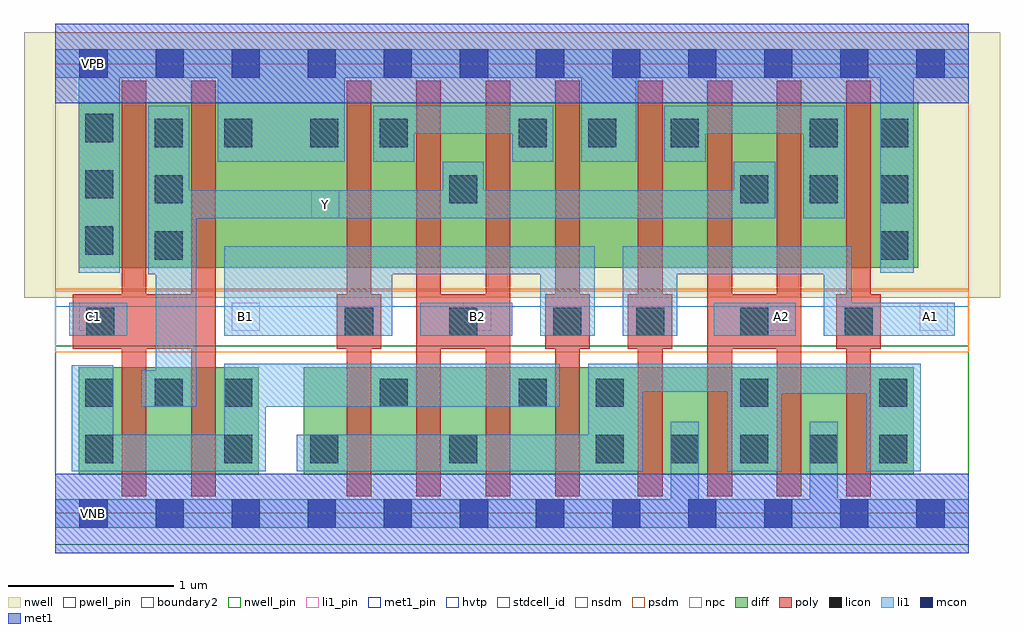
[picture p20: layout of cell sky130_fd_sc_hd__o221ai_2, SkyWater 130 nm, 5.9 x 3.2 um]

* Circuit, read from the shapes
.subckt sky130_fd_sc_hd__o221ai_2 A1 A2 B1 B2 C1 VGND VNB VPB VPWR Y
XM1 Y C1 n1 VNB sky130_fd_pr__nfet_01v8 w=0.65 l=0.15 m=2
XM2 n1 B1 n2 VNB sky130_fd_pr__nfet_01v8 w=0.65 l=0.15 m=2
XM3 n2 B2 n1 VNB sky130_fd_pr__nfet_01v8 w=0.65 l=0.15 m=2
XM4 VGND A1 n2 VNB sky130_fd_pr__nfet_01v8 w=0.65 l=0.15 m=2
XM5 n2 A2 VGND VNB sky130_fd_pr__nfet_01v8 w=0.65 l=0.15 m=2
XM6 Y C1 VPWR VPB sky130_fd_pr__pfet_01v8_hvt w=1 l=0.15 m=2
XM7 n3 B1 VPWR VPB sky130_fd_pr__pfet_01v8_hvt w=1 l=0.15 m=2
XM8 Y B2 n3 VPB sky130_fd_pr__pfet_01v8_hvt w=1 l=0.15 m=2
XM9 n4 A1 VPWR VPB sky130_fd_pr__pfet_01v8_hvt w=1 l=0.15 m=2
XM10 Y A2 n4 VPB sky130_fd_pr__pfet_01v8_hvt w=1 l=0.15 m=2
.ends

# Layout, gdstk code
import gdstk
lib = gdstk.Library(unit=1e-6, precision=1e-09)
def R(c, l, rs):  # rectangles x0, y0, x1, y1
    for r in rs: c.add(gdstk.rectangle(r[:2], r[2:], *l))
def A(c, l, x, y, w, h, nx, ny, dx, dy):  # array of equal rectangles
    R(c, l, [(x+i*dx, y+j*dy, x+i*dx+w, y+j*dy+h) for i in range(nx) for j in range(ny)])
def P(c, l, *ps):  # polygons
    for p in ps: c.add(gdstk.Polygon(p, *l))
nwell_pin = (64, 16)
nwell = (64, 20)
diff = (65, 20)
poly = (66, 20)
licon = (66, 44)
li1_pin = (67, 16)
li1 = (67, 20)
mcon = (67, 44)
met1_pin = (68, 16)
met1 = (68, 20)
hvtp = (78, 44)
stdcell_id = (81, 4)
nsdm = (93, 44)
psdm = (94, 20)
npc = (95, 20)
pwell_pin = (122, 16)
boundary2 = (236, 0)

sky130_fd_sc_hd__o221ai_ = lib.new_cell('sky130_fd_sc_hd__o221ai_2')
R(sky130_fd_sc_hd__o221ai_, nwell_pin, [(0.145,2.635,0.315,2.805)])
R(sky130_fd_sc_hd__o221ai_, nwell, [(-0.19,1.305,5.71,2.91)])
R(sky130_fd_sc_hd__o221ai_, diff, [(0.14,0.235,1.23,0.885), (1.5,0.235,5.19,0.885), (0.14,1.485,5.215,2.485)])
P(sky130_fd_sc_hd__o221ai_, poly, [(4.51,2.615),(4.36,2.615),(4.36,1.325),(4.09,1.325),(4.09,2.615),(3.94,2.615),(3.94,0.105),(4.09,0.105),(4.09,0.995),(4.36,0.995),(4.36,0.105),(4.51,0.105)],
  [(3.23,1.325),(3.17,1.325),(3.17,2.615),(3.02,2.615),(3.02,1.325),(2.96,1.325),(2.96,0.995),(3.02,0.995),(3.02,0.105),(3.17,0.105),(3.17,0.995),(3.23,0.995)],
  [(2.75,2.615),(2.6,2.615),(2.6,1.325),(2.33,1.325),(2.33,2.615),(2.18,2.615),(2.18,0.105),(2.33,0.105),(2.33,0.995),(2.6,0.995),(2.6,0.105),(2.75,0.105)],
  [(4.99,1.325),(4.93,1.325),(4.93,2.615),(4.78,2.615),(4.78,1.325),(4.72,1.325),(4.72,0.995),(4.78,0.995),(4.78,0.105),(4.93,0.105),(4.93,0.995),(4.99,0.995)],
  [(3.73,1.325),(3.67,1.325),(3.67,2.615),(3.52,2.615),(3.52,1.325),(3.46,1.325),(3.46,0.995),(3.52,0.995),(3.52,0.105),(3.67,0.105),(3.67,0.995),(3.73,0.995)],
  [(1.97,1.325),(1.91,1.325),(1.91,2.615),(1.76,2.615),(1.76,1.325),(1.7,1.325),(1.7,0.995),(1.76,0.995),(1.76,0.105),(1.91,0.105),(1.91,0.995),(1.97,0.995)],
  [(0.97,2.615),(0.82,2.615),(0.82,1.325),(0.55,1.325),(0.55,2.615),(0.4,2.615),(0.4,1.325),(0.105,1.325),(0.105,0.995),(0.4,0.995),(0.4,0.105),(0.55,0.105),(0.55,0.995),(0.82,0.995),(0.82,0.105),(0.97,0.105)])
A(sky130_fd_sc_hd__o221ai_, licon, 3.72, 0.305, 0.17, 0.17, 4, 1, 0.42, 0)
A(sky130_fd_sc_hd__o221ai_, licon, 0.18, 0.645, 0.17, 0.17, 3, 1, 0.42, 0)
A(sky130_fd_sc_hd__o221ai_, licon, 1.75, 1.075, 0.17, 0.17, 3, 1, 0.63, 0)
A(sky130_fd_sc_hd__o221ai_, licon, 3.51, 1.075, 0.17, 0.17, 3, 1, 0.63, 0)
A(sky130_fd_sc_hd__o221ai_, licon, 0.6, 1.535, 0.17, 0.17, 1, 3, 0, 0.34)
A(sky130_fd_sc_hd__o221ai_, licon, 4.985, 1.535, 0.17, 0.17, 1, 3, 0, 0.34)
A(sky130_fd_sc_hd__o221ai_, licon, 0.18, 1.565, 0.17, 0.17, 1, 3, 0, 0.34)
R(sky130_fd_sc_hd__o221ai_, licon, [(0.18,0.305,0.35,0.475), (1.02,0.305,1.19,0.475), (1.54,0.305,1.71,0.475), (2.38,0.305,2.55,0.475), (3.265,0.305,3.435,0.475), (1.96,0.645,2.13,0.815), (2.8,0.645,2.97,0.815), (3.265,0.645,3.435,0.815), (4.14,0.645,4.31,0.815), (4.98,0.645,5.15,0.815), (0.185,1.075,0.355,1.245), (2.38,1.875,2.55,2.045), (4.14,1.875,4.31,2.045), (4.56,1.875,4.73,2.045), (1.02,2.215,1.19,2.385), (1.54,2.215,1.71,2.385), (1.96,2.215,2.13,2.385), (2.8,2.215,2.97,2.385), (3.22,2.215,3.39,2.385), (3.72,2.215,3.89,2.385), (4.56,2.215,4.73,2.385)])
R(sky130_fd_sc_hd__o221ai_, li1_pin, [(0.145,1.105,0.315,1.275), (1.065,1.105,1.235,1.275), (2.465,1.105,2.635,1.275), (4.305,1.105,4.475,1.275), (5.225,1.105,5.395,1.275), (1.545,1.785,1.715,1.955)])
R(sky130_fd_sc_hd__o221ai_, li1, [(0.085,1.075,0.435,1.275), (2.205,1.075,2.76,1.275), (3.98,1.075,4.475,1.275)])
P(sky130_fd_sc_hd__o221ai_, li1, [(5.52,0.085),(4.73,0.085),(4.73,0.555),(4.56,0.555),(4.56,0.085),(3.89,0.085),(3.89,0.555),(3.72,0.555),(3.72,0.085),(0,0.085),(0,-0.085),(5.52,-0.085)],
  [(5.52,2.805),(0,2.805),(0,2.635),(0.14,2.635),(0.14,1.455),(0.39,1.455),(0.39,2.635),(0.98,2.635),(0.98,2.125),(1.75,2.125),(1.75,2.635),(3.18,2.635),(3.18,2.125),(3.51,2.125),(3.51,2.635),(4.985,2.635),(4.985,1.455),(5.19,1.455),(5.19,2.635),(5.52,2.635)],
  [(3.01,2.465),(1.92,2.465),(1.92,2.125),(2.17,2.125),(2.17,2.295),(2.76,2.295),(2.76,2.125),(3.01,2.125)],
  [(3.05,0.905),(1.02,0.905),(1.02,0.475),(0.35,0.475),(0.35,0.895),(0.1,0.895),(0.1,0.255),(1.27,0.255),(1.27,0.645),(3.05,0.645)],
  [(3.26,1.615),(1.02,1.615),(1.02,1.075),(2.035,1.075),(2.035,1.445),(2.93,1.445),(2.93,1.075),(3.26,1.075)],
  [(4.35,2.125),(4.1,2.125),(4.1,1.955),(2.59,1.955),(2.59,2.125),(2.34,2.125),(2.34,1.955),(0.81,1.955),(0.81,2.465),(0.56,2.465),(0.56,1.445),(0.605,1.445),(0.605,0.865),(0.52,0.865),(0.52,0.645),(0.85,0.645),(0.85,1.785),(4.35,1.785)],
  [(4.77,2.465),(3.68,2.465),(3.68,2.125),(3.93,2.125),(3.93,2.295),(4.52,2.295),(4.52,1.785),(4.77,1.785)],
  [(5.23,0.905),(3.22,0.905),(3.22,0.475),(1.46,0.475),(1.46,0.255),(3.55,0.255),(3.55,0.735),(4.06,0.735),(4.06,0.255),(4.39,0.255),(4.39,0.725),(4.9,0.725),(4.9,0.255),(5.23,0.255)],
  [(5.435,1.275),(4.815,1.275),(4.815,1.615),(3.43,1.615),(3.43,1.075),(3.76,1.075),(3.76,1.445),(4.645,1.445),(4.645,1.075),(5.435,1.075)])
A(sky130_fd_sc_hd__o221ai_, mcon, 0.145, -0.085, 0.17, 0.17, 12, 2, 0.46, 2.72)
R(sky130_fd_sc_hd__o221ai_, met1_pin, [(0.145,-0.085,0.315,0.085), (0.145,2.635,0.315,2.805)])
R(sky130_fd_sc_hd__o221ai_, hvtp, [(0,1.25,5.52,2.72)])
R(sky130_fd_sc_hd__o221ai_, stdcell_id, [(0,0,5.52,2.72)])
R(sky130_fd_sc_hd__o221ai_, nsdm, [(0,-0.19,5.52,1.015)])
R(sky130_fd_sc_hd__o221ai_, psdm, [(0,1.355,5.52,2.91)])
R(sky130_fd_sc_hd__o221ai_, npc, [(0,0.975,5.52,1.345)])
R(sky130_fd_sc_hd__o221ai_, pwell_pin, [(0.145,-0.085,0.315,0.085)])
R(sky130_fd_sc_hd__o221ai_, boundary2, [(0,0,5.52,2.72)])
sky130_fd_sc_hd__o221ai_.add(gdstk.FlexPath([(0,2.72),(5.52,2.72)], 0.48, ends="flush", simple_path=True, layer=68, datatype=20))  # met1
sky130_fd_sc_hd__o221ai_.add(gdstk.FlexPath([(0,0),(5.52,0)], 0.48, ends="flush", simple_path=True, layer=68, datatype=20))  # met1
sky130_fd_sc_hd__o221ai_.add(gdstk.Label('B1', (1.15,1.19), layer=67, texttype=5))
sky130_fd_sc_hd__o221ai_.add(gdstk.Label('B2', (2.55,1.19), layer=67, texttype=5))
sky130_fd_sc_hd__o221ai_.add(gdstk.Label('Y', (1.63,1.87), layer=67, texttype=5))
sky130_fd_sc_hd__o221ai_.add(gdstk.Label('A2', (4.39,1.19), layer=67, texttype=5))
sky130_fd_sc_hd__o221ai_.add(gdstk.Label('A1', (5.29,1.19), layer=67, texttype=5))
sky130_fd_sc_hd__o221ai_.add(gdstk.Label('C1', (0.23,1.19), layer=67, texttype=5))
sky130_fd_sc_hd__o221ai_.add(gdstk.Label('VNB', (0.23,0), layer=64, texttype=59))
sky130_fd_sc_hd__o221ai_.add(gdstk.Label('VPB', (0.23,2.72), layer=64, texttype=5))
sky130_fd_sc_hd__o221ai_.add(gdstk.Label('VGND', (0.23,0), layer=68, texttype=5))
sky130_fd_sc_hd__o221ai_.add(gdstk.Label('VPWR', (0.23,2.72), layer=68, texttype=5))
sky130_fd_sc_hd__o221ai_.add(gdstk.Label('o221ai_2', (0,0), layer=83, texttype=44))

lib.write_gds('sky130_fd_sc_hd__o221ai_2.gds')
